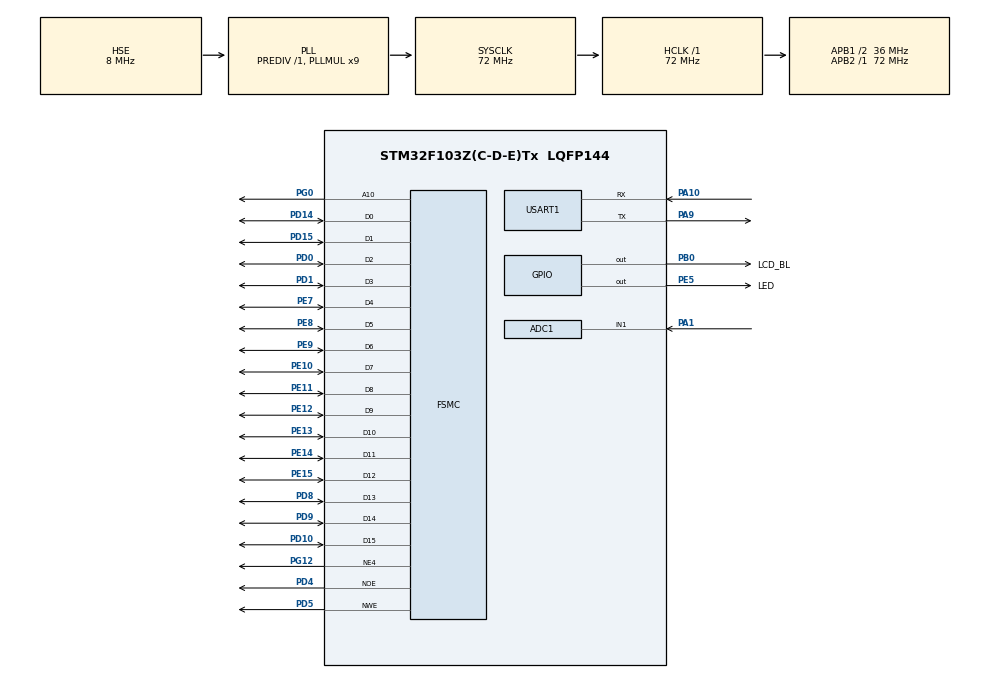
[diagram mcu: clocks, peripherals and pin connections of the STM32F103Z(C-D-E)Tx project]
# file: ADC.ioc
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ADC1.Channel-0\#ChannelRegularConversion=ADC_CHANNEL_1
ADC1.ContinuousConvMode=ENABLE
ADC1.NbrOfConversionFlag=1
ADC1.Rank-0\#ChannelRegularConversion=1
ADC1.SamplingTime-0\#ChannelRegularConversion=ADC_SAMPLETIME_1CYCLE_5
ADC1.master=1
FSMC.BusTurnAroundDuration1=0
FSMC.DataSetupTime1=60
FSMC.ExtendedAddressSetupTime1=9
FSMC.ExtendedBusTurnAroundDuration1=0
FSMC.ExtendedDataSetupTime1=8
FSMC.ExtendedMode1=FSMC_EXTENDED_MODE_ENABLE
Mcu.Family=STM32F1
Mcu.Name=STM32F103Z(C-D-E)Tx
Mcu.Package=LQFP144
NVIC.ADC1_2_IRQn=true\:0\:0\:false\:false\:true\:true\:true\:true
NVIC.PriorityGroup=NVIC_PRIORITYGROUP_4
NVIC.USART1_IRQn=true\:0\:0\:false\:false\:true\:true\:true\:true
OSC_IN.Mode=HSE-External-Oscillator
OSC_IN.Signal=RCC_OSC_IN
OSC_OUT.Mode=HSE-External-Oscillator
OSC_OUT.Signal=RCC_OSC_OUT
PA1.Signal=ADCx_IN1
PA10.Mode=Asynchronous
PA10.Signal=USART1_RX
PA13.Mode=Serial_Wire
PA13.Signal=SYS_JTMS-SWDIO
PA14.Mode=Serial_Wire
PA14.Signal=SYS_JTCK-SWCLK
PA9.Mode=Asynchronous
PA9.Signal=USART1_TX
PB0.GPIO_Label=LCD_BL
PB0.GPIO_PuPd=GPIO_PULLUP
PB0.GPIO_Speed=GPIO_SPEED_FREQ_HIGH
PB0.Signal=GPIO_Output
PD0.Signal=FSMC_D2_DA2
PD1.Signal=FSMC_D3_DA3
PD10.Signal=FSMC_D15_DA15
PD14.Signal=FSMC_D0_DA0
PD15.Signal=FSMC_D1_DA1
PD4.Signal=FSMC_NOE
PD5.Signal=FSMC_NWE
PD8.Signal=FSMC_D13_DA13
PD9.Signal=FSMC_D14_DA14
PE10.Signal=FSMC_D7_DA7
PE11.Signal=FSMC_D8_DA8
PE12.Signal=FSMC_D9_DA9
PE13.Signal=FSMC_D10_DA10
PE14.Signal=FSMC_D11_DA11
PE15.Signal=FSMC_D12_DA12
PE5.GPIO_Label=LED
PE5.Signal=GPIO_Output
PE7.Signal=FSMC_D4_DA4
PE8.Signal=FSMC_D5_DA5
PE9.Signal=FSMC_D6_DA6
PG0.Signal=FSMC_A10
PG12.Mode=NorPsramChipSelect4_1
PG12.Signal=FSMC_NE4
ProjectManager.HeapSize=0x200
ProjectManager.StackSize=0x400
ProjectManager.TargetToolchain=MDK-ARM V5
RCC.ADCPresc=RCC_ADCPCLK2_DIV6
RCC.AHBFreq_Value=72000000
RCC.APB1CLKDivider=RCC_HCLK_DIV2
RCC.APB1Freq_Value=36000000
RCC.APB1TimFreq_Value=72000000
RCC.APB2Freq_Value=72000000
RCC.APB2TimFreq_Value=72000000
RCC.HCLKFreq_Value=72000000
RCC.PLLMUL=RCC_PLL_MUL9
RCC.PLLSourceVirtual=RCC_PLLSOURCE_HSE
RCC.SYSCLKFreq_VALUE=72000000
RCC.SYSCLKSource=RCC_SYSCLKSOURCE_PLLCLK
RCC.USBFreq_Value=72000000
SH.ADCx_IN1.0=ADC1_IN1,IN1
SH.FSMC_A10.0=FSMC_A10,A10_1
SH.FSMC_D0_DA0.0=FSMC_D0,16b-d1
SH.FSMC_D10_DA10.0=FSMC_D10,16b-d1
SH.FSMC_D11_DA11.0=FSMC_D11,16b-d1
SH.FSMC_D12_DA12.0=FSMC_D12,16b-d1
SH.FSMC_D13_DA13.0=FSMC_D13,16b-d1
SH.FSMC_D14_DA14.0=FSMC_D14,16b-d1
SH.FSMC_D15_DA15.0=FSMC_D15,16b-d1
SH.FSMC_D1_DA1.0=FSMC_D1,16b-d1
SH.FSMC_D2_DA2.0=FSMC_D2,16b-d1
SH.FSMC_D3_DA3.0=FSMC_D3,16b-d1
SH.FSMC_D4_DA4.0=FSMC_D4,16b-d1
SH.FSMC_D5_DA5.0=FSMC_D5,16b-d1
SH.FSMC_D6_DA6.0=FSMC_D6,16b-d1
SH.FSMC_D7_DA7.0=FSMC_D7,16b-d1
SH.FSMC_D8_DA8.0=FSMC_D8,16b-d1
SH.FSMC_D9_DA9.0=FSMC_D9,16b-d1
SH.FSMC_NOE.0=FSMC_NOE,Lcd1
SH.FSMC_NWE.0=FSMC_NWE,Lcd1
USART1.VirtualMode=VM_ASYNC
board=custom

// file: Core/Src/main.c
/* USER CODE BEGIN Header */
/**
  ******************************************************************************
  * @file           : main.c
  * @brief          : Main program body
  ******************************************************************************
  * @attention
  *
  * Copyright (c) 2022 STMicroelectronics.
  * All rights reserved.
  *
  * This software is licensed under terms that can be found in the LICENSE file
  * in the root directory of this software component.
  * If no LICENSE file comes with this software, it is provided AS-IS.
  *
  ******************************************************************************
  */
/* USER CODE END Header */
#include "main.h"
#include "adc.h"
#include "usart.h"
#include "gpio.h"
#include "fsmc.h"

/* USER CODE BEGIN Includes */
#include "ILI93xx.h"
#include <stdio.h>
/* USER CODE END Includes */

/* USER CODE BEGIN PV */
float initValue = 5.0;
uint16_t ADC_value; 			//AD转换值
float Real_value; 				//实际电压值
/* USER CODE END PV */

void SystemClock_Config(void);

/* USER CODE BEGIN 0 */
void HAL_ADC_ConvCpltCallback(ADC_HandleTypeDef* hadc)
{
    ADC_value = HAL_ADC_GetValue(&hadc1);
}
/* USER CODE END 0 */

int main(void)
{

  /* MCU Configuration--------------------------------------------------------*/

  /* Reset of all peripherals, Initializes the Flash interface and the Systick. */
  HAL_Init();

  /* Configure the system clock */
  SystemClock_Config();

  /* Initialize all configured peripherals */
  MX_GPIO_Init();
  MX_ADC1_Init();
  MX_USART1_UART_Init();
  MX_FSMC_Init();
  /* USER CODE BEGIN 2 */
	HAL_ADC_Start_IT(&hadc1);
	TFTLCD_Init();
	LCD_Clear(BLUE);
	LCD_ShowString(30,40,210,24,24, "What a nice day!");
	LCD_ShowString(30,70,200,16,16, "TFTLCD TEST");
	LCD_ShowString(30,90,200,16,16, "2020/7/29");
	LCD_ShowString(30,110,200,16,16, "The ADC_value is: ");
	LCD_ShowxNum(280,110,0,4,16,0);
	LCD_ShowString(30,140,200,16,16, "The Real_value is: ");
	LCD_ShowFloat(230,140,16,initValue,2,6);
  /* USER CODE END 2 */

  /* Infinite loop */
  while (1)
  {
		HAL_GPIO_TogglePin(GPIOE, GPIO_PIN_5);					//指示AD转换正常完成
		Real_value=(float)(ADC_value)/4096*3.3;					//计算实际电压值4096=2^12
		printf("The ADC_value is %d\r\n", ADC_value);
		LCD_ShowxNum(280,110,ADC_value,4,16,0);
		printf("The Real_value is %f\r\n", Real_value);
		LCD_ShowFloat(230,140,16,Real_value,2,6);
		printf(" ");
		HAL_Delay(1000);
  }
}

void SystemClock_Config(void)
{
  RCC_OscInitTypeDef RCC_OscInitStruct = {0};
  RCC_ClkInitTypeDef RCC_ClkInitStruct = {0};
  RCC_PeriphCLKInitTypeDef PeriphClkInit = {0};

  /** Initializes the RCC Oscillators according to the specified parameters
  * in the RCC_OscInitTypeDef structure.
  */
  RCC_OscInitStruct.OscillatorType = RCC_OSCILLATORTYPE_HSE;
  RCC_OscInitStruct.HSEState = RCC_HSE_ON;
  RCC_OscInitStruct.HSEPredivValue = RCC_HSE_PREDIV_DIV1;
  RCC_OscInitStruct.HSIState = RCC_HSI_ON;
  RCC_OscInitStruct.PLL.PLLState = RCC_PLL_ON;
  RCC_OscInitStruct.PLL.PLLSource = RCC_PLLSOURCE_HSE;
  RCC_OscInitStruct.PLL.PLLMUL = RCC_PLL_MUL9;
  if (HAL_RCC_OscConfig(&RCC_OscInitStruct) != HAL_OK)
  {
    Error_Handler();
  }

  /** Initializes the CPU, AHB and APB buses clocks
  */
  RCC_ClkInitStruct.ClockType = RCC_CLOCKTYPE_HCLK|RCC_CLOCKTYPE_SYSCLK
                              |RCC_CLOCKTYPE_PCLK1|RCC_CLOCKTYPE_PCLK2;
  RCC_ClkInitStruct.SYSCLKSource = RCC_SYSCLKSOURCE_PLLCLK;
  RCC_ClkInitStruct.AHBCLKDivider = RCC_SYSCLK_DIV1;
  RCC_ClkInitStruct.APB1CLKDivider = RCC_HCLK_DIV2;
  RCC_ClkInitStruct.APB2CLKDivider = RCC_HCLK_DIV1;

  if (HAL_RCC_ClockConfig(&RCC_ClkInitStruct, FLASH_LATENCY_2) != HAL_OK)
  {
    Error_Handler();
  }
  PeriphClkInit.PeriphClockSelection = RCC_PERIPHCLK_ADC;
  PeriphClkInit.AdcClockSelection = RCC_ADCPCLK2_DIV6;
  if (HAL_RCCEx_PeriphCLKConfig(&PeriphClkInit) != HAL_OK)
  {
    Error_Handler();
  }
}

void Error_Handler(void)
{
  __disable_irq();
  while (1)
  {
  }
}
